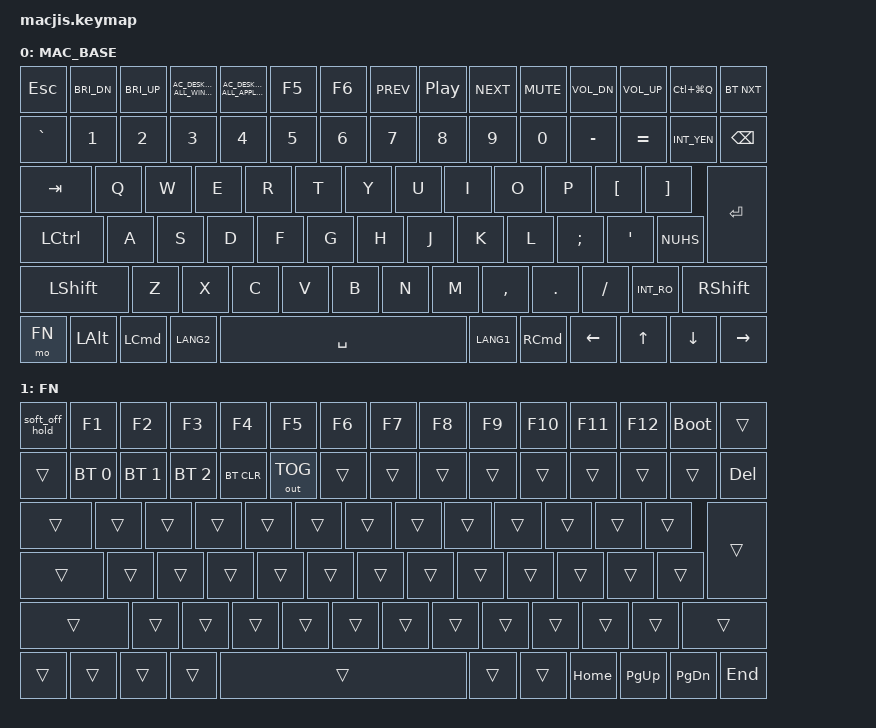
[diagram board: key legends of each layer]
/* scripts/gen_zmk.py で生成。直接編集しない */

#include <behaviors.dtsi>
#include <dt-bindings/zmk/keys.h>
#include <dt-bindings/zmk/bt.h>
#include <dt-bindings/zmk/outputs.h>

#define FN 1

/ {
    behaviors {
        soft_off_hold: soft_off_hold {
            compatible = "zmk,behavior-soft-off";
            #binding-cells = <0>;
            hold-time-ms = <1000>;  /* 誤って切らないよう 1 秒押し続けたときだけ */
        };
    };

    keymap {
        compatible = "zmk,keymap";

        mac_base_layer {
            display-name = "MAC_BASE";
            bindings = <
                &kp ESC  &kp C_BRI_DN  &kp C_BRI_UP  &kp C_AC_DESKTOP_SHOW_ALL_WINDOWS  &kp C_AC_DESKTOP_SHOW_ALL_APPLICATIONS  &kp F5  &kp F6  &kp C_PREV  &kp C_PP  &kp C_NEXT  &kp C_MUTE  &kp C_VOL_DN  &kp C_VOL_UP  &kp LC(LG(Q))  &bt BT_NXT
                &kp GRAVE  &kp N1  &kp N2  &kp N3  &kp N4  &kp N5  &kp N6  &kp N7  &kp N8  &kp N9  &kp N0  &kp MINUS  &kp EQUAL  &kp INT_YEN  &kp BSPC
                &kp TAB  &kp Q  &kp W  &kp E  &kp R  &kp T  &kp Y  &kp U  &kp I  &kp O  &kp P  &kp LBKT  &kp RBKT  &kp ENTER
                &kp LCTRL  &kp A  &kp S  &kp D  &kp F  &kp G  &kp H  &kp J  &kp K  &kp L  &kp SEMI  &kp SQT  &kp NUHS
                &kp LSHFT  &kp Z  &kp X  &kp C  &kp V  &kp B  &kp N  &kp M  &kp COMMA  &kp DOT  &kp FSLH  &kp INT_RO  &kp RSHFT
                &mo FN  &kp LALT  &kp LCMD  &kp LANG2  &kp SPACE  &kp LANG1  &kp RCMD  &kp LEFT  &kp UP  &kp DOWN  &kp RIGHT
            >;
        };

        fn_layer {
            display-name = "FN";
            bindings = <
                &soft_off_hold  &kp F1  &kp F2  &kp F3  &kp F4  &kp F5  &kp F6  &kp F7  &kp F8  &kp F9  &kp F10  &kp F11  &kp F12  &bootloader  &trans
                &trans  &bt BT_SEL 0  &bt BT_SEL 1  &bt BT_SEL 2  &bt BT_CLR  &out OUT_TOG  &trans  &trans  &trans  &trans  &trans  &trans  &trans  &trans  &kp DEL
                &trans  &trans  &trans  &trans  &trans  &trans  &trans  &trans  &trans  &trans  &trans  &trans  &trans  &trans
                &trans  &trans  &trans  &trans  &trans  &trans  &trans  &trans  &trans  &trans  &trans  &trans  &trans
                &trans  &trans  &trans  &trans  &trans  &trans  &trans  &trans  &trans  &trans  &trans  &trans  &trans
                &trans  &trans  &trans  &trans  &trans  &trans  &trans  &kp HOME  &kp PG_UP  &kp PG_DN  &kp END
            >;
        };
    };
};
